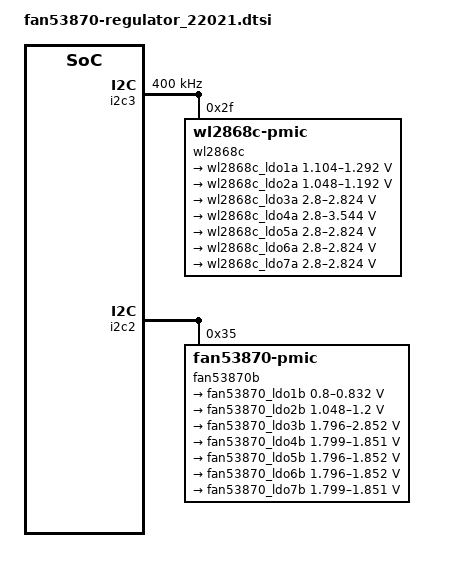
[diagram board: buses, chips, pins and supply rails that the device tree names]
// SPDX-License-Identifier: GPL-2.0
/*
 * Copyright (C) 2021 MediaTek Inc.
 */

&pio {
	wl2868c_default: state_default_a {
		pins_cmd_dat {
			pinmux = <PINMUX_GPIO188__FUNC_GPIO188>;
		};
	};
	// gpio205 pull up to enable dvdd supply
	wl2868c_reset_high: state_reset_high_a {
		pins_cmd_dat {
			pinmux = <PINMUX_GPIO205__FUNC_GPIO205>,
				<PINMUX_GPIO188__FUNC_GPIO188>,
				<PINMUX_GPIO194__FUNC_GPIO194>;
			slew-rate = <1>;
			output-high;
		};
	};
	wl2868c_reset_low: state_reset_low_a {
		pins_cmd_dat {
			pinmux = <PINMUX_GPIO205__FUNC_GPIO205>,
				<PINMUX_GPIO188__FUNC_GPIO188>,
				<PINMUX_GPIO194__FUNC_GPIO194>;
			slew-rate = <1>;
			output-low;
		};
	};
	fan53870b_default: state_default_b {
		pins_cmd_dat {
			pinmux = <PINMUX_GPIO204__FUNC_GPIO204>;
		};
	};
	fan53870b_reset_high: state_reset_high_b {
		pins_cmd_dat {
			pinmux = <PINMUX_GPIO204__FUNC_GPIO204>,
				<PINMUX_GPIO205__FUNC_GPIO205>;
			slew-rate = <1>;
			output-high;
		};
	};
	fan53870b_reset_low: state_reset_low_b {
		pins_cmd_dat {
			pinmux = <PINMUX_GPIO204__FUNC_GPIO204>,
				<PINMUX_GPIO205__FUNC_GPIO205>;
			slew-rate = <1>;
			output-low;
		};
	};
};

&i2c3 {
	clock-frequency = <400000>;
	wl2868c@2F {
		compatible = "wl2868c-pmic";
		reg = <0x2F>;
		//vin12-supply = <&gpio205_regulator>;
		pinctrl-names = "default", "reset_high", "reset_low";
		pinctrl-0 = <&wl2868c_default>;
		pinctrl-1 = <&wl2868c_reset_high>;
		pinctrl-2 = <&wl2868c_reset_low>;
		regulators {
			wl2868c_ldo1a:ONLDO1 {
				regulator-name = "wl2868c_ldo1a";
				regulator-min-microvolt = <1104000>;
				regulator-max-microvolt = <1292000>;
			};
			wl2868c_ldo2a:ONLDO2 {
				regulator-name = "wl2868c_ldo2a";
				regulator-min-microvolt = <1048000>;
				regulator-max-microvolt = <1192000>;
			};
			wl2868c_ldo3a:ONLDO3 {
				regulator-name = "wl2868c_ldo3a";
				regulator-min-microvolt = <2800000>;
				regulator-max-microvolt = <2824000>;
			};
			wl2868c_ldo4a:ONLDO4 {
				regulator-name = "wl2868c_ldo4a";
				regulator-min-microvolt = <2800000>;
				regulator-max-microvolt = <3544000>;
			};
			wl2868c_ldo5a:ONLDO5 {
				regulator-name = "wl2868c_ldo5a";
				regulator-min-microvolt = <2800000>;
				regulator-max-microvolt = <2824000>;
			};
			wl2868c_ldo6a:ONLDO6 {
				regulator-name = "wl2868c_ldo6a";
				regulator-min-microvolt = <2800000>;
				regulator-max-microvolt = <2824000>;
			};
			wl2868c_ldo7a:ONLDO7 {
				regulator-name = "wl2868c_ldo7a";
				regulator-min-microvolt = <2800000>;
				regulator-max-microvolt = <2824000>;
			};
		};
	};
};

&i2c2 {
	fan53870b@35 {
		compatible = "fan53870-pmic";
		reg = <0x35>;
		pinctrl-names = "default", "reset_high", "reset_low";
		pinctrl-0 = <&fan53870b_default>;
		pinctrl-1 = <&fan53870b_reset_high>;
		pinctrl-2 = <&fan53870b_reset_low>;

		regulators {
			fan53870_ldo1b:ONLDO1 {
				regulator-name = "fan53870_ldo1b";
				regulator-min-microvolt = <800000>;
				regulator-max-microvolt = <832000>;
			};
			fan53870_ldo2b:ONLDO2 {
				regulator-name = "fan53870_ldo2b";
				regulator-min-microvolt = <1048000>;
				regulator-max-microvolt = <1200000>;
			};
			fan53870_ldo3b:ONLDO3 {
				regulator-name = "fan53870_ldo3b";
				regulator-min-microvolt = <1796000>;
				regulator-max-microvolt = <2852000>;
			};
			fan53870_ldo4b:ONLDO4 {
				regulator-name = "fan53870_ldo4b";
				regulator-min-microvolt = <1799000>;
				regulator-max-microvolt = <1851000>;
			};
			fan53870_ldo5b:ONLDO5 {
				regulator-name = "fan53870_ldo5b";
				regulator-min-microvolt = <1796000>;
				regulator-max-microvolt = <1852000>;
			};
			fan53870_ldo6b:ONLDO6 {
				regulator-name = "fan53870_ldo6b";
				regulator-min-microvolt = <1796000>;
				regulator-max-microvolt = <1852000>;
			};
			fan53870_ldo7b:ONLDO7 {
				regulator-name = "fan53870_ldo7b";
				regulator-min-microvolt = <1799000>;
				regulator-max-microvolt = <1851000>;
			};
		};
	};
};
